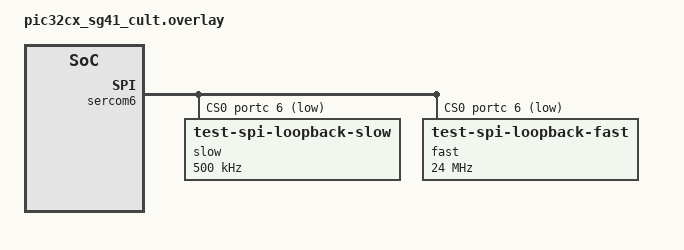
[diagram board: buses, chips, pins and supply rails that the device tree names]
/*
 * Copyright (c) 2026 Microchip Technology Inc.
 *
 * SPDX-License-Identifier: Apache-2.0
 */

&sercom0 {
	status = "disabled";
};

&sercom6 {
	compatible = "microchip,sercom-g1-spi";
	/* Internally connect MOSI to MISO for loop-back operation */
	dipo = <3>;
	dopo = <2>;
	/* Assign a CS pin */
	cs-gpios = <&portc 6 GPIO_ACTIVE_LOW>;
	/* Configure DMA */
	dmas = <&dmac 0 0x10>, <&dmac 1 0x11>;
	dma-names = "rx", "tx";

	slow@0 {
		compatible = "test-spi-loopback-slow";
		reg = <0>;
		spi-max-frequency = <500000>;
	};

	fast@0 {
		compatible = "test-spi-loopback-fast";
		reg = <0>;
		spi-max-frequency = <24000000>;
	};

	#address-cells = <1>;
	#size-cells = <0>;
	pinctrl-0 = <&sercom6_spi_default>;
	pinctrl-names = "default";
	status = "okay";
};

&pinctrl {
	sercom6_spi_default: sercom6_spi_default {
		group1 {
			pinmux = <PC13D_SERCOM6_PAD0>,
				 <PC12D_SERCOM6_PAD1>,
				 <PC7C_SERCOM6_PAD3>;
		};
	};
};
